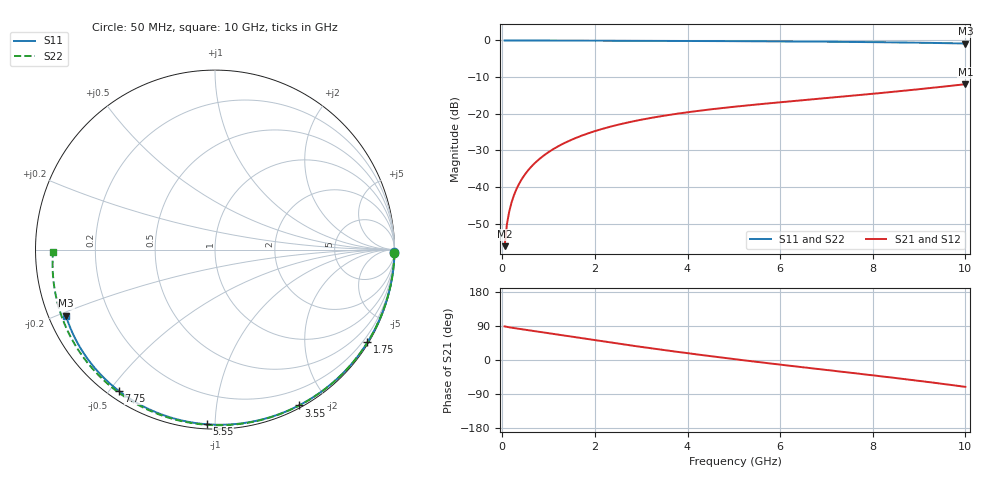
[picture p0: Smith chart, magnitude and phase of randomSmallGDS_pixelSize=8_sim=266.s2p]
! freq	dB(S11)	phase(S11)	dB(S12)	phase(S12)
!  dB(S21)	phase(S21)	dB(S22)	phase(S22)
!S-par simulation data
#  GHz  S  DB  R 50
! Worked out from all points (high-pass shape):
!   200 points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, 50 MHz to 10 GHz, reference 50 ohm
!   highest |S21| = -11.94 dB at 10 GHz (marker M1); lowest = -56.2 dB at 50 MHz (marker M2)
!   |S21| within 3 dB of the highest: 7.682 GHz to end of sweep
!   lowest |S11| = -0.8 dB at 10 GHz (marker M3), VSWR 20.88, Z = 2.5 - j10.6 ohm
!   |S11| at or under -10 dB: nowhere
!   |S22| runs from -0.9 to 0.0 dB; largest |S21 - S12| = 0
!   S11 on the Smith chart (normalised r, x): 50 MHz: open; 1.75 GHz: 0.04, -3.57; 3.55 GHz: 0.03, -1.67; 5.55 GHz: 0.02, -0.95; 7.75 GHz: 0.03, -0.53; 10 GHz: 0.05, -0.21
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0.05  -0.00 -0.9  -56.16 88.7  -56.16 88.7  -0.00 -1.0
0.1  -0.00 -1.8  -50.17 87.5  -50.17 87.5  -0.00 -2.0
0.15  -0.00 -2.7  -46.69 86.3  -46.69 86.3  -0.00 -3.1
0.2  -0.00 -3.6  -44.22 85.3  -44.22 85.3  -0.00 -4.1
0.25  -0.00 -4.6  -42.32 84.4  -42.32 84.4  -0.00 -5.1
0.35  -0.01 -6.4  -39.44 82.5  -39.44 82.5  -0.01 -7.1
0.5  -0.01 -9.1  -36.39 79.8  -36.39 79.8  -0.01 -10.2
0.7  -0.02 -12.7  -33.51 76.1  -33.51 76.1  -0.02 -14.2
1  -0.03 -18.1  -30.48 70.5  -30.48 70.5  -0.03 -20.2
1.35  -0.04 -24.3  -27.96 64.0  -27.96 64.0  -0.04 -27.1
1.75  -0.05 -31.3  -25.82 56.7  -25.82 56.7  -0.06 -34.9
2.6  -0.08 -45.9  -22.71 41.5  -22.71 41.5  -0.09 -51.2
3.4  -0.11 -59.3  -20.74 27.8  -20.74 27.8  -0.12 -66.1
3.55  -0.12 -61.7  -20.43 25.3  -20.43 25.3  -0.13 -68.8
4.3  -0.15 -73.7  -19.11 13.2  -19.11 13.2  -0.17 -82.1
5.05  -0.19 -85.2  -18.04 1.7  -18.04 1.7  -0.21 -95.0
5.55  -0.23 -92.7  -17.41 -5.7  -17.41 -5.7  -0.24 -103.4
6.7  -0.31 -109.4  -16.07 -22.1  -16.07 -22.1  -0.34 -122.4
7.75  -0.42 -124.3  -14.86 -36.9  -14.86 -36.9  -0.46 -139.6
8.35  -0.51 -132.7  -14.14 -45.4  -14.14 -45.4  -0.55 -149.7
9.2  -0.65 -144.6  -13.04 -58.1  -13.04 -58.1  -0.70 -164.4
10  -0.83 -156.1  -11.94 -70.9  -11.94 -70.9  -0.89 -179.3
